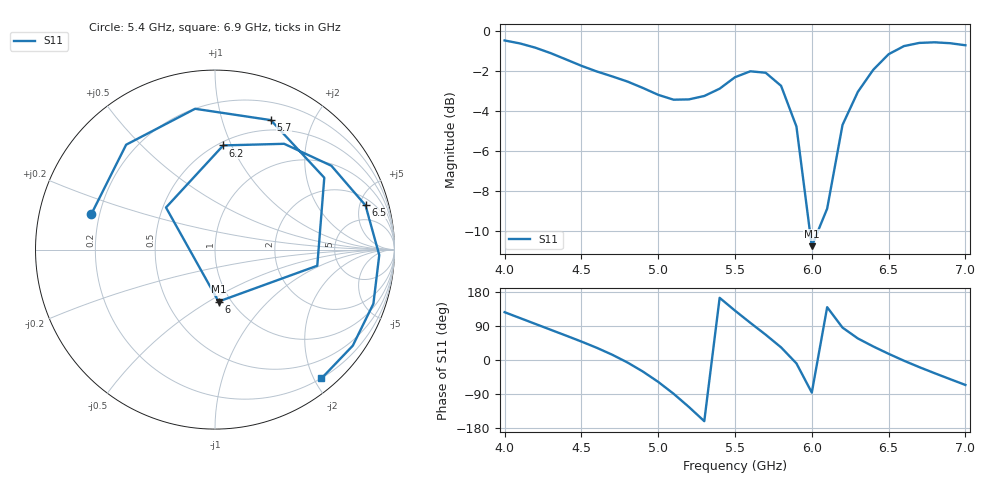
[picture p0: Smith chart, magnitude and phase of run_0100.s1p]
! Touchstone file exported from HFSS 2024.2.0
!  File:  C:/Users/wsak9/Desktop/Sim Fast/Widenad Patch/WP_AI_V1_sweep.aedt
!  Generated:  07:04:33 PM Oct 13, 2026
!  Design:  A1_model
!  Project:  WP_AI_V1_sweep
!  Setup:  Setup1
!  Solution:  Sweep
! Variables:
!  Air_gap = 3.25mm
!  Curve_Amp1 = 2.47
!  Curve_len1 = 1
!  Curve_pos = 10.11mm
!  Extra = 3.71mm
!  H_sub = 0.79mm
!  L_Patch = 16.22mm
!  L_Patch1 = 20.1mm
!  Sx = 2.58mm
!  Sy = 3.09mm
!  WS = 1.01mm
!  W_Patch = 15.69mm
!  W_Patch1 = 16.39mm
!Data is not renormalized
# GHz S MA
! Terminal data exported
! Port[1] = 1
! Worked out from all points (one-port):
!   31 points, 4 GHz to 7 GHz, reference per port
!   lowest |S11| = -10.7 dB at 6 GHz (marker M1), VSWR 1.82
!   |S11| at or under -10 dB: 5.987 GHz to 6.04 GHz (52.47 MHz wide, 0.872 % of centre)
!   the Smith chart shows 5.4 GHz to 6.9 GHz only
!   S11 on the Smith chart (normalised r, x): 5.4 GHz: 0.17, +0.14; 5.7 GHz: 0.38, +1.45; 6 GHz: 0.88, -0.55; 6.2 GHz: 0.53, +0.93; 6.5 GHz: 2.72, +5.68; 6.9 GHz: 0.20, -2.11
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4  0.9459 126.2
4.1  0.9298 110.7
4.2  0.9074 95.2
4.4  0.8482 64.4
4.6  0.7915 32.2
4.7  0.7695 14.1
4.8  0.747 -6.6
4.9  0.7201 -30.4
5  0.6921 -57.8
5.1  0.6731 -89.0
5.2  0.6742 -124.0
5.3  0.6875 -161.5
5.4  0.717 164.1
5.5  0.7659 130.3
5.6  0.7924 98.0
5.7  0.7856 66.7
5.8  0.7288 33.3
5.9  0.5769 -8.9
6  0.2901 -86.1
6.1  0.36 139.3
6.2  0.5823 85.5
6.3  0.7041 56.8
6.4  0.7992 35.8
6.5  0.874 16.4
6.6  0.9157 -1.9
6.7  0.9326 -18.9
6.9  0.931 -50.4
7  0.9202 -65.9
